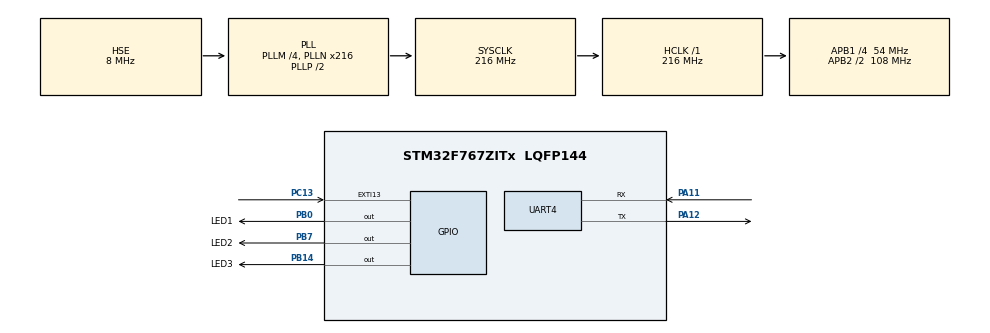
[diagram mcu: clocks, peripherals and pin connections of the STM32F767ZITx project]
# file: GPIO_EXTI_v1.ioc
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Mcu.Family=STM32F7
Mcu.Name=STM32F767ZITx
Mcu.Package=LQFP144
NVIC.EXTI15_10_IRQn=true\:0\:0\:false\:false\:true\:true\:true
NVIC.PriorityGroup=NVIC_PRIORITYGROUP_4
NVIC.UART4_IRQn=true\:0\:0\:false\:false\:true\:true\:true
PA11.Mode=Asynchronous
PA11.Signal=UART4_RX
PA12.Mode=Asynchronous
PA12.Signal=UART4_TX
PA13.Mode=Serial_Wire
PA13.Signal=SYS_JTMS-SWDIO
PA14.Mode=Serial_Wire
PA14.Signal=SYS_JTCK-SWCLK
PB0.GPIO_Label=LED1
PB0.Signal=GPIO_Output
PB14.GPIO_Label=LED3
PB14.Signal=GPIO_Output
PB7.GPIO_FM7=SYSCFG_PMC_I2C_PB7_FMP
PB7.GPIO_Label=LED2
PB7.Signal=GPIO_Output
PC13.Signal=GPXTI13
PC14/OSC32_IN.Mode=LSE-External-Clock-Source
PC14/OSC32_IN.Signal=RCC_OSC32_IN
PC15/OSC32_OUT.Mode=LSE-External-Clock-Source
PC15/OSC32_OUT.Signal=RCC_OSC32_OUT
PH0/OSC_IN.Mode=HSE-External-Oscillator
PH0/OSC_IN.Signal=RCC_OSC_IN
PH1/OSC_OUT.Mode=HSE-External-Oscillator
PH1/OSC_OUT.Signal=RCC_OSC_OUT
ProjectManager.HeapSize=0x200
ProjectManager.StackSize=0x400
ProjectManager.TargetToolchain=STM32CubeIDE
RCC.AHBFreq_Value=216000000
RCC.APB1CLKDivider=RCC_HCLK_DIV4
RCC.APB1Freq_Value=54000000
RCC.APB1TimFreq_Value=108000000
RCC.APB2CLKDivider=RCC_HCLK_DIV2
RCC.APB2Freq_Value=108000000
RCC.APB2TimFreq_Value=216000000
RCC.CortexFreq_Value=216000000
RCC.HCLKFreq_Value=216000000
RCC.HSE_VALUE=8000000
RCC.HSI_VALUE=16000000
RCC.LSE_VALUE=32768
RCC.PLLM=4
RCC.PLLN=216
RCC.PLLSourceVirtual=RCC_PLLSOURCE_HSE
RCC.SYSCLKFreq_VALUE=216000000
RCC.SYSCLKSource=RCC_SYSCLKSOURCE_PLLCLK
RCC.USBFreq_Value=216000000
RCC.VCOOutputFreq_Value=432000000
board=custom

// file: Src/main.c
/* USER CODE BEGIN Header */
/**
  ******************************************************************************
  * @file           : main.c
  * @brief          : Main program body
  ******************************************************************************
  * @attention
  *
  * Copyright (c) 2022 STMicroelectronics.
  * All rights reserved.
  *
  * This software is licensed under terms that can be found in the LICENSE file
  * in the root directory of this software component.
  * If no LICENSE file comes with this software, it is provided AS-IS.
  *
  ******************************************************************************
  */
/* USER CODE END Header */
#include "main.h"

/* USER CODE BEGIN Includes */
#include <string.h>
/* USER CODE END Includes */

UART_HandleTypeDef huart4;

void SystemClock_Config(void);
static void MX_GPIO_Init(void);
static void MX_UART4_Init(void);
/* USER CODE BEGIN PFP */
void HAL_GPIO_EXTI_Callback(uint16_t GPIO_Pin);
/* USER CODE END PFP */

/* USER CODE BEGIN 0 */
uint8_t gCounter = 0;
char led1_data[] = "Toggled GREEN LED\r\n";
char led2_data[] = "Toggled BLUE LED\r\n";
char led3_data[] = "Toggled RED LED\r\n";
/* USER CODE END 0 */

int main(void)
{

  /* MCU Configuration--------------------------------------------------------*/

  /* Reset of all peripherals, Initializes the Flash interface and the Systick. */
  HAL_Init();

  /* Configure the system clock */
  SystemClock_Config();

  /* Initialize all configured peripherals */
  MX_GPIO_Init();
  MX_UART4_Init();

  /* Infinite loop */
  while (1)
  {

  }
}

void SystemClock_Config(void)
{
  RCC_OscInitTypeDef RCC_OscInitStruct = {0};
  RCC_ClkInitTypeDef RCC_ClkInitStruct = {0};

  /** Configure the main internal regulator output voltage
  */
  __HAL_RCC_PWR_CLK_ENABLE();
  __HAL_PWR_VOLTAGESCALING_CONFIG(PWR_REGULATOR_VOLTAGE_SCALE1);
  /** Initializes the RCC Oscillators according to the specified parameters
  * in the RCC_OscInitTypeDef structure.
  */
  RCC_OscInitStruct.OscillatorType = RCC_OSCILLATORTYPE_HSE;
  RCC_OscInitStruct.HSEState = RCC_HSE_ON;
  RCC_OscInitStruct.PLL.PLLState = RCC_PLL_ON;
  RCC_OscInitStruct.PLL.PLLSource = RCC_PLLSOURCE_HSE;
  RCC_OscInitStruct.PLL.PLLM = 4;
  RCC_OscInitStruct.PLL.PLLN = 216;
  RCC_OscInitStruct.PLL.PLLP = RCC_PLLP_DIV2;
  RCC_OscInitStruct.PLL.PLLQ = 2;
  RCC_OscInitStruct.PLL.PLLR = 2;
  if (HAL_RCC_OscConfig(&RCC_OscInitStruct) != HAL_OK)
  {
    Error_Handler();
  }
  /** Activate the Over-Drive mode
  */
  if (HAL_PWREx_EnableOverDrive() != HAL_OK)
  {
    Error_Handler();
  }
  /** Initializes the CPU, AHB and APB buses clocks
  */
  RCC_ClkInitStruct.ClockType = RCC_CLOCKTYPE_HCLK|RCC_CLOCKTYPE_SYSCLK
                              |RCC_CLOCKTYPE_PCLK1|RCC_CLOCKTYPE_PCLK2;
  RCC_ClkInitStruct.SYSCLKSource = RCC_SYSCLKSOURCE_PLLCLK;
  RCC_ClkInitStruct.AHBCLKDivider = RCC_SYSCLK_DIV1;
  RCC_ClkInitStruct.APB1CLKDivider = RCC_HCLK_DIV4;
  RCC_ClkInitStruct.APB2CLKDivider = RCC_HCLK_DIV2;

  if (HAL_RCC_ClockConfig(&RCC_ClkInitStruct, FLASH_LATENCY_7) != HAL_OK)
  {
    Error_Handler();
  }
}

static void MX_UART4_Init(void)
{

  huart4.Instance = UART4;
  huart4.Init.BaudRate = 115200;
  huart4.Init.WordLength = UART_WORDLENGTH_8B;
  huart4.Init.StopBits = UART_STOPBITS_1;
  huart4.Init.Parity = UART_PARITY_NONE;
  huart4.Init.Mode = UART_MODE_TX_RX;
  huart4.Init.HwFlowCtl = UART_HWCONTROL_NONE;
  huart4.Init.OverSampling = UART_OVERSAMPLING_16;
  huart4.Init.OneBitSampling = UART_ONE_BIT_SAMPLE_DISABLE;
  huart4.AdvancedInit.AdvFeatureInit = UART_ADVFEATURE_NO_INIT;
  if (HAL_UART_Init(&huart4) != HAL_OK)
  {
    Error_Handler();
  }

}

static void MX_GPIO_Init(void)
{
  GPIO_InitTypeDef GPIO_InitStruct = {0};

  /* GPIO Ports Clock Enable */
  __HAL_RCC_GPIOC_CLK_ENABLE();
  __HAL_RCC_GPIOH_CLK_ENABLE();
  __HAL_RCC_GPIOB_CLK_ENABLE();
  __HAL_RCC_GPIOA_CLK_ENABLE();

  /*Configure GPIO pin Output Level */
  HAL_GPIO_WritePin(GPIOB, LED1_Pin|LED3_Pin|LED2_Pin, GPIO_PIN_RESET);

  /*Configure GPIO pin : PC13 */
  GPIO_InitStruct.Pin = GPIO_PIN_13;
  GPIO_InitStruct.Mode = GPIO_MODE_IT_RISING;
  GPIO_InitStruct.Pull = GPIO_NOPULL;
  HAL_GPIO_Init(GPIOC, &GPIO_InitStruct);

  /*Configure GPIO pins : LED1_Pin LED3_Pin LED2_Pin */
  GPIO_InitStruct.Pin = LED1_Pin|LED3_Pin|LED2_Pin;
  GPIO_InitStruct.Mode = GPIO_MODE_OUTPUT_PP;
  GPIO_InitStruct.Pull = GPIO_NOPULL;
  GPIO_InitStruct.Speed = GPIO_SPEED_FREQ_LOW;
  HAL_GPIO_Init(GPIOB, &GPIO_InitStruct);

  /**/
  HAL_I2CEx_EnableFastModePlus(SYSCFG_PMC_I2C_PB7_FMP);

  /* EXTI interrupt init*/
  HAL_NVIC_SetPriority(EXTI15_10_IRQn, 0, 0);
  HAL_NVIC_EnableIRQ(EXTI15_10_IRQn);

}

/* USER CODE BEGIN 4 */
void HAL_GPIO_EXTI_Callback(uint16_t GPIO_Pin)
{
    if ( GPIO_Pin == GPIO_PIN_13)
    {
        gCounter++;
        if (gCounter % 3 == 0)
        {
        	HAL_GPIO_TogglePin(LED1_GPIO_Port, LED1_Pin);
        	HAL_UART_Transmit(&huart4, (uint8_t *)(led1_data), strlen(led1_data), HAL_MAX_DELAY);

        } else if (gCounter % 7 == 0)
        {
        	HAL_GPIO_TogglePin(LED2_GPIO_Port, LED2_Pin);
        	HAL_UART_Transmit(&huart4, (uint8_t *)(led2_data), strlen(led2_data), HAL_MAX_DELAY);
        } else if (gCounter % 11 == 0)
        {
        	HAL_GPIO_TogglePin(LED3_GPIO_Port, LED3_Pin);
        	HAL_UART_Transmit(&huart4, (uint8_t *)(led3_data), strlen(led3_data), HAL_MAX_DELAY);
        }
    }
}
/* USER CODE END 4 */

void Error_Handler(void)
{
  __disable_irq();
  while (1)
  {
  }
}
